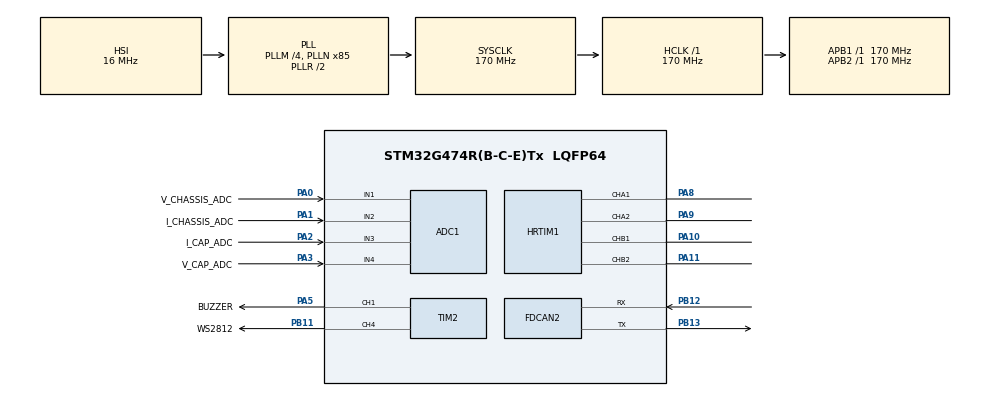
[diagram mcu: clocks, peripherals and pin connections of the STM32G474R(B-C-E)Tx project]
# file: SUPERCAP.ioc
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ADC1.Channel-12\#ChannelRegularConversion=ADC_CHANNEL_1
ADC1.Channel-13\#ChannelRegularConversion=ADC_CHANNEL_2
ADC1.Channel-14\#ChannelRegularConversion=ADC_CHANNEL_3
ADC1.Channel-15\#ChannelRegularConversion=ADC_CHANNEL_4
ADC1.ContinuousConvMode=DISABLE
ADC1.DMAContinuousRequests=ENABLE
ADC1.EOCSelection=ADC_EOC_SEQ_CONV
ADC1.ExternalTrigConv=ADC_EXTERNALTRIG_HRTIM_TRG1
ADC1.NbrOfConversion=4
ADC1.NbrOfConversionFlag=1
ADC1.OffsetNumber-12\#ChannelRegularConversion=ADC_OFFSET_NONE
ADC1.OffsetNumber-13\#ChannelRegularConversion=ADC_OFFSET_NONE
ADC1.OffsetNumber-14\#ChannelRegularConversion=ADC_OFFSET_NONE
ADC1.OffsetNumber-15\#ChannelRegularConversion=ADC_OFFSET_NONE
ADC1.OversamplingMode=DISABLE
ADC1.Rank-12\#ChannelRegularConversion=1
ADC1.Rank-13\#ChannelRegularConversion=2
ADC1.Rank-14\#ChannelRegularConversion=3
ADC1.Rank-15\#ChannelRegularConversion=4
ADC1.SamplingTime-12\#ChannelRegularConversion=ADC_SAMPLETIME_2CYCLES_5
ADC1.SamplingTime-13\#ChannelRegularConversion=ADC_SAMPLETIME_2CYCLES_5
ADC1.SamplingTime-14\#ChannelRegularConversion=ADC_SAMPLETIME_2CYCLES_5
ADC1.SamplingTime-15\#ChannelRegularConversion=ADC_SAMPLETIME_2CYCLES_5
ADC1.master=1
Dma.ADC1.0.Direction=DMA_PERIPH_TO_MEMORY
Dma.ADC1.0.EventEnable=DISABLE
Dma.ADC1.0.Instance=DMA1_Channel1
Dma.ADC1.0.MemDataAlignment=DMA_MDATAALIGN_HALFWORD
Dma.ADC1.0.MemInc=DMA_MINC_ENABLE
Dma.ADC1.0.Mode=DMA_CIRCULAR
Dma.ADC1.0.PeriphDataAlignment=DMA_PDATAALIGN_HALFWORD
Dma.ADC1.0.PeriphInc=DMA_PINC_DISABLE
Dma.ADC1.0.Polarity=HAL_DMAMUX_REQ_GEN_RISING
Dma.ADC1.0.Priority=DMA_PRIORITY_LOW
Dma.ADC1.0.RequestNumber=1
Dma.ADC1.0.SignalID=NONE
Dma.ADC1.0.SyncEnable=DISABLE
Dma.ADC1.0.SyncPolarity=HAL_DMAMUX_SYNC_NO_EVENT
Dma.ADC1.0.SyncRequestNumber=1
Dma.ADC1.0.SyncSignalID=NONE
Dma.Request0=ADC1
FDCAN2.CalculateBaudRateNominal=1000000
FDCAN2.CalculateTimeBitNominal=1000
FDCAN2.CalculateTimeQuantumNominal=100.0
FDCAN2.DataPrescaler=16
FDCAN2.DataSyncJumpWidth=1
FDCAN2.DataTimeSeg1=8
FDCAN2.DataTimeSeg2=2
FDCAN2.NominalPrescaler=17
FDCAN2.NominalSyncJumpWidth=1
FDCAN2.NominalTimeSeg1=4
FDCAN2.NominalTimeSeg2=5
HRTIM1.ADCTrigger1_Source1=HRTIM_ADCTRIGGEREVENT13_MASTER_PERIOD
HRTIM1.ADCTrigger_Id1=HRTIM_ADCTRIGGER_1
HRTIM1.ADCTrigger_Id2=__NULL
HRTIM1.CompareUnit1-MasterTimer=__NULL
HRTIM1.CompareUnit1-Output_TA1TA2=HRTIM_COMPAREUNIT_1
HRTIM1.CompareUnit1-Output_TB1TB2=HRTIM_COMPAREUNIT_1
HRTIM1.CompareUnit2-MasterTimer=__NULL
HRTIM1.CompareUnit2-Output_TB1TB2=__NULL
HRTIM1.CompareUnit3-MasterTimer=__NULL
HRTIM1.CompareUnit3-Output_TA1TA2=HRTIM_COMPAREUNIT_3
HRTIM1.CompareUnit3-Output_TB1TB2=HRTIM_COMPAREUNIT_3
HRTIM1.CompareUnit4-Output_TB1TB2=__NULL
HRTIM1.CompareValue1-Output_TB1TB2=0
HRTIM1.CompareValue3-Output_TB1TB2=0
HRTIM1.DeadTimeInsertion-Output_TA1TA2=HRTIM_TIMDEADTIMEINSERTION_ENABLED
HRTIM1.DeadTimeInsertion-Output_TB1TB2=HRTIM_TIMDEADTIMEINSERTION_ENABLED
HRTIM1.Enable=HRTIM_BURSTMODECTL_DISABLED
HRTIM1.FallingValue-Output_TA1TA2=50
HRTIM1.FallingValue-Output_TB1TB2=50
HRTIM1.InterruptRequests1_Master=HRTIM_MASTER_IT_MREP
HRTIM1.ModeTimeBase-MasterTimer=HRTIM_MODE_CONTINUOUS
HRTIM1.NumberADCTriggerSource1=1
HRTIM1.NumberInterruptRequests_Master-MasterTimer=1
HRTIM1.NumberResetSource1-Output_TA1TA2=1
HRTIM1.NumberResetSource1-Output_TB1TB2=1
HRTIM1.NumberResetTrigger-Output_TA1TA2=1
HRTIM1.NumberResetTrigger-Output_TB1TB2=1
HRTIM1.NumberSetSource1-Output_TA1TA2=1
HRTIM1.NumberSetSource1-Output_TB1TB2=1
HRTIM1.NumberUpdateTrigger-Output_TA1TA2=1
HRTIM1.NumberUpdateTrigger-Output_TB1TB2=1
HRTIM1.ORingUpdateSource_ADCTrigger1=HRTIM_ADCTRIGGERUPDATE_MASTER
HRTIM1.Periode_MASTER=27200
HRTIM1.Periode_TA=27200
HRTIM1.Periode_TB=27200
HRTIM1.PreloadEnable-Output_TA1TA2=HRTIM_PRELOAD_ENABLED
HRTIM1.PreloadEnable-Output_TB1TB2=HRTIM_PRELOAD_ENABLED
HRTIM1.RepetitionCounter-MasterTimer=0
HRTIM1.RepetitionUpdate-MasterTimer=HRTIM_UPDATEONREPETITION_ENABLED
HRTIM1.RepetitionUpdate-Output_TA1TA2=HRTIM_UPDATEONREPETITION_ENABLED
HRTIM1.RepetitionUpdate-Output_TB1TB2=HRTIM_UPDATEONREPETITION_ENABLED
HRTIM1.ResetOutput1_Source1-Output_TA1TA2=HRTIM_OUTPUTRESET_TIMCMP3
HRTIM1.ResetOutput1_Source1-Output_TB1TB2=HRTIM_OUTPUTRESET_TIMCMP3
HRTIM1.ResetTrigger1-Output_TA1TA2=HRTIM_TIMRESETTRIGGER_MASTER_PER
HRTIM1.ResetTrigger1-Output_TB1TB2=HRTIM_TIMRESETTRIGGER_MASTER_PER
HRTIM1.RisingValue-Output_TA1TA2=50
HRTIM1.RisingValue-Output_TB1TB2=50
HRTIM1.SetOutput1_Source1-Output_TA1TA2=HRTIM_OUTPUTSET_TIMCMP1
HRTIM1.SetOutput1_Source1-Output_TB1TB2=HRTIM_OUTPUTSET_TIMCMP1
HRTIM1.SwapA=__NULL
HRTIM1.UpDownMode-Output_TB1TB2=HRTIM_TIMERUPDOWNMODE_UP
HRTIM1.UpdateTrigger1-Output_TA1TA2=HRTIM_TIMUPDATETRIGGER_MASTER
HRTIM1.UpdateTrigger1-Output_TB1TB2=HRTIM_TIMUPDATETRIGGER_MASTER
Mcu.Family=STM32G4
Mcu.Name=STM32G474R(B-C-E)Tx
Mcu.Package=LQFP64
NVIC.ADC1_2_IRQn=true\:2\:0\:true\:false\:true\:true\:true\:true
NVIC.DMA1_Channel1_IRQn=true\:2\:0\:true\:false\:true\:false\:true\:true
NVIC.FDCAN2_IT0_IRQn=true\:1\:0\:true\:false\:true\:true\:true\:true
NVIC.HRTIM1_Master_IRQn=true\:1\:0\:true\:false\:true\:true\:true\:true
NVIC.HRTIM1_TIMB_IRQn=true\:0\:0\:false\:false\:true\:true\:true\:true
NVIC.PriorityGroup=NVIC_PRIORITYGROUP_4
NVIC.TIM1_UP_TIM16_IRQn=true\:0\:0\:false\:false\:true\:true\:true\:true
NVIC.TIM8_UP_IRQn=true\:1\:0\:true\:false\:true\:true\:true\:true
PA0.GPIO_Label=V_CHASSIS_ADC
PA0.Mode=IN1-Single-Ended
PA0.Signal=ADC1_IN1
PA1.GPIO_Label=I_CHASSIS_ADC
PA1.Mode=IN2-Single-Ended
PA1.Signal=ADC1_IN2
PA10.Mode=Output_TB1TB2
PA10.Signal=HRTIM1_CHB1
PA11.Mode=Output_TB1TB2
PA11.Signal=HRTIM1_CHB2
PA13.Mode=Serial_Wire
PA13.Signal=SYS_JTMS-SWDIO
PA14.Mode=Serial_Wire
PA14.Signal=SYS_JTCK-SWCLK
PA2.GPIO_Label=I_CAP_ADC
PA2.Mode=IN3-Single-Ended
PA2.Signal=ADC1_IN3
PA3.GPIO_Label=V_CAP_ADC
PA3.Mode=IN4-Single-Ended
PA3.Signal=ADC1_IN4
PA5.GPIO_Label=BUZZER
PA5.Signal=S_TIM2_CH1
PA8.Mode=Output_TA1TA2
PA8.Signal=HRTIM1_CHA1
PA9.Mode=Output_TA1TA2
PA9.Signal=HRTIM1_CHA2
PB11.GPIO_Label=WS2812
PB11.Signal=S_TIM2_CH4
PB12.GPIO_Speed=GPIO_SPEED_FREQ_HIGH
PB12.Mode=FDCAN_Activate
PB12.Signal=FDCAN2_RX
PB13.GPIO_Speed=GPIO_SPEED_FREQ_HIGH
PB13.Mode=FDCAN_Activate
PB13.Signal=FDCAN2_TX
ProjectManager.HeapSize=0x200
ProjectManager.StackSize=0x800
ProjectManager.TargetToolchain=CMake
RCC.ADC12Freq_Value=170000000
RCC.ADC345Freq_Value=170000000
RCC.AHBFreq_Value=170000000
RCC.APB1Freq_Value=170000000
RCC.APB1TimFreq_Value=170000000
RCC.APB2Freq_Value=170000000
RCC.APB2TimFreq_Value=170000000
RCC.CortexFreq_Value=170000000
RCC.EXTERNAL_CLOCK_VALUE=12288000
RCC.HCLKFreq_Value=170000000
RCC.HSE_VALUE=24000000
RCC.HSI48_VALUE=48000000
RCC.HSI_VALUE=16000000
RCC.LSE_VALUE=32768
RCC.PLLM=RCC_PLLM_DIV4
RCC.PLLN=85
RCC.SYSCLKFreq_VALUE=170000000
RCC.SYSCLKSource=RCC_SYSCLKSOURCE_PLLCLK
RCC.USBFreq_Value=170000000
RCC.VCOOutputFreq_Value=340000000
SH.S_TIM2_CH1.0=TIM2_CH1,PWM Generation1 CH1
SH.S_TIM2_CH4.0=TIM2_CH4,Output Compare4 CH4
TIM16.Channel=TIM_CHANNEL_1
TIM16.PeriodNoDither=1000-1
TIM16.Prescaler=170
TIM2.Channel-Output\ Compare4\ CH4=TIM_CHANNEL_4
TIM2.Channel-PWM\ Generation1\ CH1=TIM_CHANNEL_1
TIM8.AutoReloadPreload=TIM_AUTORELOAD_PRELOAD_ENABLE
TIM8.Channel-Output\ Compare1\ No\ Output=TIM_CHANNEL_1
TIM8.PeriodNoDither=100
TIM8.Prescaler=16
VP_HRTIM1_VS_hrtimMasterTimerNoOutput.Mode=MasterTimer
VP_SYS_VS_DBSignals.Mode=DisableDeadBatterySignals
VP_TIM16_VS_ClockSourceINT.Mode=Enable_Timer
VP_TIM16_VS_no_output1.Mode=Output Compare1 No Output
VP_TIM2_VS_ClockSourceINT.Mode=Internal
VP_TIM8_VS_ClockSourceINT.Mode=Internal
VP_TIM8_VS_no_output1.Mode=Output Compare1 No Output
board=custom

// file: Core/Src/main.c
/* USER CODE BEGIN Header */
/**
 ******************************************************************************
 * @file           : main.c
 * @brief          : Main program body
 ******************************************************************************
 * @attention
 *
 * Copyright (c) 2025 STMicroelectronics.
 * All rights reserved.
 *
 * This software is licensed under terms that can be found in the LICENSE file
 * in the root directory of this software component.
 * If no LICENSE file comes with this software, it is provided AS-IS.
 *
 ******************************************************************************
 */
/* USER CODE END Header */
#include "main.h"
#include "adc.h"
#include "dma.h"
#include "fdcan.h"
#include "hrtim.h"
#include "tim.h"
#include "gpio.h"

/* USER CODE BEGIN Includes */
#include "ADC_Calibration.h"
#include "CAN_communicate.h"
#include "Data_collect.h"
#include "HAL_callback.h"
#include "MOS_driver.h"
#include "PID_controller.h"
#include "SuperCap_init.h"
#include "const_data.h"
#include "module_data.h"

/* USER CODE END Includes */

void SystemClock_Config(void);

int main(void)
{

  /* MCU Configuration--------------------------------------------------------*/

  /* Reset of all peripherals, Initializes the Flash interface and the Systick. */
  HAL_Init();

  /* Configure the system clock */
  SystemClock_Config();

  /* Initialize all configured peripherals */
  MX_GPIO_Init();
  MX_DMA_Init();
  MX_ADC1_Init();
  MX_FDCAN2_Init();
  MX_HRTIM1_Init();
  MX_TIM16_Init();
  MX_TIM8_Init();
  MX_TIM2_Init();
  /* USER CODE BEGIN 2 */
    SuperCap_init();
    HAL_TIM_Base_Start_IT(&htim16);
    HAL_Delay(2);
    HAL_TIM_Base_Start_IT(&htim8);
    HAL_Delay(2);
    MosDriver_OUTPUT_init();
  /* USER CODE END 2 */

  /* Infinite loop */
    while (1) {

    }
}

void SystemClock_Config(void)
{
  RCC_OscInitTypeDef RCC_OscInitStruct = {0};
  RCC_ClkInitTypeDef RCC_ClkInitStruct = {0};

  /** Configure the main internal regulator output voltage
  */
  HAL_PWREx_ControlVoltageScaling(PWR_REGULATOR_VOLTAGE_SCALE1_BOOST);

  /** Initializes the RCC Oscillators according to the specified parameters
  * in the RCC_OscInitTypeDef structure.
  */
  RCC_OscInitStruct.OscillatorType = RCC_OSCILLATORTYPE_HSI;
  RCC_OscInitStruct.HSIState = RCC_HSI_ON;
  RCC_OscInitStruct.HSICalibrationValue = RCC_HSICALIBRATION_DEFAULT;
  RCC_OscInitStruct.PLL.PLLState = RCC_PLL_ON;
  RCC_OscInitStruct.PLL.PLLSource = RCC_PLLSOURCE_HSI;
  RCC_OscInitStruct.PLL.PLLM = RCC_PLLM_DIV4;
  RCC_OscInitStruct.PLL.PLLN = 85;
  RCC_OscInitStruct.PLL.PLLP = RCC_PLLP_DIV2;
  RCC_OscInitStruct.PLL.PLLQ = RCC_PLLQ_DIV2;
  RCC_OscInitStruct.PLL.PLLR = RCC_PLLR_DIV2;
  if (HAL_RCC_OscConfig(&RCC_OscInitStruct) != HAL_OK)
  {
    Error_Handler();
  }

  /** Initializes the CPU, AHB and APB buses clocks
  */
  RCC_ClkInitStruct.ClockType = RCC_CLOCKTYPE_HCLK|RCC_CLOCKTYPE_SYSCLK
                              |RCC_CLOCKTYPE_PCLK1|RCC_CLOCKTYPE_PCLK2;
  RCC_ClkInitStruct.SYSCLKSource = RCC_SYSCLKSOURCE_PLLCLK;
  RCC_ClkInitStruct.AHBCLKDivider = RCC_SYSCLK_DIV1;
  RCC_ClkInitStruct.APB1CLKDivider = RCC_HCLK_DIV1;
  RCC_ClkInitStruct.APB2CLKDivider = RCC_HCLK_DIV1;

  if (HAL_RCC_ClockConfig(&RCC_ClkInitStruct, FLASH_LATENCY_4) != HAL_OK)
  {
    Error_Handler();
  }
}

void Error_Handler(void)
{
  /* USER CODE BEGIN Error_Handler_Debug */
    /* User can add his own implementation to report the HAL error return state
     */
    __disable_irq();
    while (1) {
    }
  /* USER CODE END Error_Handler_Debug */
}
#ifdef USE_FULL_ASSERT
/**
  * @brief  Reports the name of the source file and the source line number
  *         where the assert_param error has occurred.
  * @param  file: pointer to the source file name
  * @param  line: assert_param error line source number
  * @retval None
  */
void assert_failed(uint8_t *file, uint32_t line)
{
  /* USER CODE BEGIN 6 */
    /* User can add his own implementation to report the file name and line
       number, ex: printf("Wrong parameters value: file %s on line %d\r\n",
       file, line) */
  /* USER CODE END 6 */
}
#endif /* USE_FULL_ASSERT */
